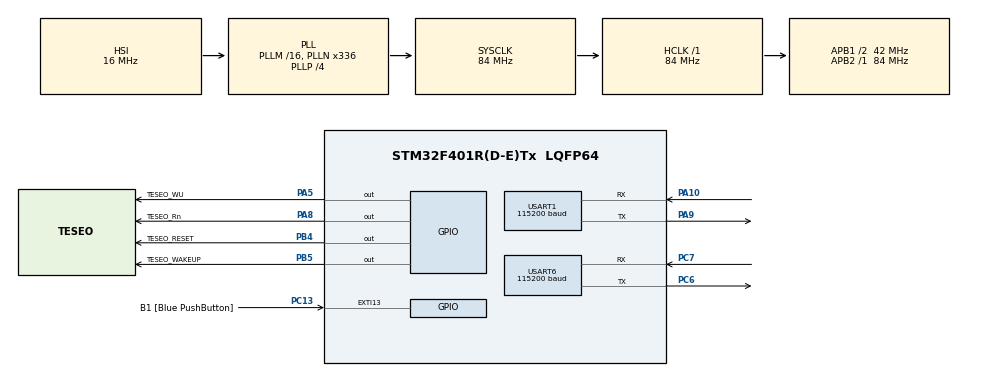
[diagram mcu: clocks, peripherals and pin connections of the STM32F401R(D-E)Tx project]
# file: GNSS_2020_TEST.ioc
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Dma.Request0=USART1_RX
Dma.USART1_RX.0.Direction=DMA_PERIPH_TO_MEMORY
Dma.USART1_RX.0.FIFOMode=DMA_FIFOMODE_DISABLE
Dma.USART1_RX.0.Instance=DMA2_Stream2
Dma.USART1_RX.0.MemDataAlignment=DMA_MDATAALIGN_BYTE
Dma.USART1_RX.0.MemInc=DMA_MINC_ENABLE
Dma.USART1_RX.0.Mode=DMA_CIRCULAR
Dma.USART1_RX.0.PeriphDataAlignment=DMA_PDATAALIGN_BYTE
Dma.USART1_RX.0.PeriphInc=DMA_PINC_DISABLE
Dma.USART1_RX.0.Priority=DMA_PRIORITY_LOW
Mcu.Family=STM32F4
Mcu.Name=STM32F401R(D-E)Tx
Mcu.Package=LQFP64
NVIC.DMA2_Stream2_IRQn=true\:0\:0\:false\:false\:true\:false\:true\:true
NVIC.PriorityGroup=NVIC_PRIORITYGROUP_4
NVIC.TIM1_UP_TIM10_IRQn=true\:15\:0\:false\:false\:true\:false\:true\:true
NVIC.TIM2_IRQn=true\:0\:0\:false\:false\:true\:true\:true\:true
NVIC.TimeBase=TIM1_UP_TIM10_IRQn
NVIC.TimeBaseIP=TIM1
PA10.Mode=Asynchronous
PA10.Signal=USART1_RX
PA13.GPIO_Label=TMS
PA13.Signal=SYS_JTMS-SWDIO
PA14.GPIO_Label=TCK
PA14.Signal=SYS_JTCK-SWCLK
PA2.GPIO_Label=USART_TX
PA2.GPIO_Mode=GPIO_MODE_AF_PP
PA2.GPIO_PuPd=GPIO_NOPULL
PA2.GPIO_Speed=GPIO_SPEED_FREQ_LOW
PA2.Signal=USART2_TX
PA3.GPIO_Label=USART_RX
PA3.GPIO_Mode=GPIO_MODE_AF_PP
PA3.GPIO_PuPd=GPIO_NOPULL
PA3.GPIO_Speed=GPIO_SPEED_FREQ_LOW
PA3.Signal=USART2_RX
PA5.GPIO_Label=TESEO_WU
PA5.GPIO_Mode=GPIO_MODE_OUTPUT_PP
PA5.GPIO_PuPd=GPIO_NOPULL
PA5.GPIO_Speed=GPIO_SPEED_FREQ_LOW
PA5.PinState=GPIO_PIN_SET
PA5.Signal=GPIO_Output
PA8.GPIO_Label=TESEO_Rn
PA8.PinState=GPIO_PIN_SET
PA8.Signal=GPIO_Output
PA9.Mode=Asynchronous
PA9.Signal=USART1_TX
PB3.GPIO_Label=SWO
PB3.Signal=SYS_JTDO-SWO
PB4.GPIO_Label=TESEO_RESET
PB4.PinState=GPIO_PIN_SET
PB4.Signal=GPIO_Output
PB5.GPIO_Label=TESEO_WAKEUP
PB5.PinState=GPIO_PIN_SET
PB5.Signal=GPIO_Output
PC13-ANTI_TAMP.GPIO_Label=B1 [Blue PushButton]
PC13-ANTI_TAMP.GPIO_ModeDefaultEXTI=GPIO_MODE_IT_FALLING
PC13-ANTI_TAMP.GPIO_PuPd=GPIO_NOPULL
PC13-ANTI_TAMP.Signal=GPXTI13
PC14-OSC32_IN.Signal=RCC_OSC32_IN
PC15-OSC32_OUT.Signal=RCC_OSC32_OUT
PC6.Mode=Asynchronous
PC6.Signal=USART6_TX
PC7.Mode=Asynchronous
PC7.Signal=USART6_RX
PH0\ -\ OSC_IN.Signal=RCC_OSC_IN
PH1\ -\ OSC_OUT.Signal=RCC_OSC_OUT
ProjectManager.HeapSize=0x200
ProjectManager.StackSize=0x400
ProjectManager.TargetToolchain=STM32CubeIDE
RCC.AHBFreq_Value=84000000
RCC.APB1CLKDivider=RCC_HCLK_DIV2
RCC.APB1Freq_Value=42000000
RCC.APB1TimFreq_Value=84000000
RCC.APB2Freq_Value=84000000
RCC.APB2TimFreq_Value=84000000
RCC.CortexFreq_Value=84000000
RCC.HCLKFreq_Value=84000000
RCC.HSE_VALUE=8000000
RCC.HSI_VALUE=16000000
RCC.LSE_VALUE=32768
RCC.PLLN=336
RCC.PLLP=RCC_PLLP_DIV4
RCC.PLLQ=7
RCC.SYSCLKFreq_VALUE=84000000
RCC.SYSCLKSource=RCC_SYSCLKSOURCE_PLLCLK
RCC.VCOOutputFreq_Value=336000000
TIM2.Period=1999
TIM2.Prescaler=8399
USART1.BaudRate=115200
USART1.Mode=MODE_TX_RX
USART1.VirtualMode=VM_ASYNC
USART6.BaudRate=115200
USART6.VirtualMode=VM_ASYNC
VP_SYS_VS_tim1.Mode=TIM1
VP_TIM2_VS_ClockSourceINT.Mode=Internal
board=NUCLEO-F401RE

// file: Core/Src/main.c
/* USER CODE BEGIN Header */
/**
 ******************************************************************************
 * @file           : main.c
 * @brief          : Main program body
 ******************************************************************************
 * @attention
 *
 * Copyright (c) 2025 STMicroelectronics.
 * All rights reserved.
 *
 * This software is licensed under terms that can be found in the LICENSE file
 * in the root directory of this software component.
 * If no LICENSE file comes with this software, it is provided AS-IS.
 *
 ******************************************************************************
 */
/* USER CODE END Header */
#include "main.h"

/* USER CODE BEGIN Includes */
#include "../inc/GNSSDriver.h"
#include "../inc/state_machine.h"

/* USER CODE END Includes */

/* USER CODE BEGIN PD */
#define MAX_NMEA_LEN 512
#define TX_TIMEOUT 500

/* USER CODE END PD */

TIM_HandleTypeDef htim2;

UART_HandleTypeDef huart1;
UART_HandleTypeDef huart6;
DMA_HandleTypeDef hdma_usart1_rx;

void SystemClock_Config(void);
static void MX_GPIO_Init(void);
static void MX_DMA_Init(void);
static void MX_USART1_UART_Init(void);
static void MX_USART6_UART_Init(void);
static void MX_TIM2_Init(void);

/* USER CODE BEGIN 0 */
uint8_t rx_buff[MAX_NMEA_LEN];

// inicializa a estrutura que salva os dados do gnss
gnss_data_t gnss_data;

// inicializa maquina de estados
system_state_t system_state = STATE_IDLE;

/* USER CODE END 0 */

int main(void)
{

  /* MCU Configuration--------------------------------------------------------*/

  /* Reset of all peripherals, Initializes the Flash interface and the Systick. */
  HAL_Init();

  /* Configure the system clock */
  SystemClock_Config();

  /* Initialize all configured peripherals */
  MX_GPIO_Init();
  MX_DMA_Init();
  MX_USART1_UART_Init();
  MX_USART6_UART_Init();
  MX_TIM2_Init();
  /* USER CODE BEGIN 2 */
	init(&gnss_data);

//	HAL_UART_Receive_DMA(&huart1, rx_buff, MAX_NMEA_LEN);
	HAL_UARTEx_ReceiveToIdle_DMA(&huart1, rx_buff, MAX_NMEA_LEN);
	HAL_TIM_Base_Start_IT(&htim2);

//	char test_rx_buffer[] =
//	    ",V,0000.00000,N,00000.00000,E,0.0,0.0,190925,,,N*74\n "
//	    "$GPGGA,123105.000,0000.00000,N,00000.00000,E,0,02,99.0,100.00,M,0.0,M,,*"
//	    "6A\n$GPVTG,0.0,T,,M,0.0,";

  /* USER CODE END 2 */

  /* Infinite loop */
  /* USER CODE BEGIN WHILE */
//	uint8_t change_baud[MAX_NMEA_LEN] = "$PSTMSETPAR,3102,0xA*12\r\n";
//	uint8_t change_sample_rate[MAX_NMEA_LEN] = "$PSTMSETPAR,1303,0.2*36\r\n";
//
//	uint8_t save_par[MAX_NMEA_LEN] = "$PSTMSAVEPAR*58\r\n";
//	uint8_t reset[MAX_NMEA_LEN] = "$PSTMSRR*49\r\n";
//
//	HAL_UART_Transmit(&huart1, change_sample_rate, MAX_NMEA_LEN, 1000);
//	HAL_UART_Transmit(&huart1, save_par, MAX_NMEA_LEN, 1000);
//	HAL_UART_Transmit(&huart1, reset, MAX_NMEA_LEN, 1000);
//
//	while (1) {
//
//	}

	while (1) {
    /* USER CODE END WHILE */

    /* USER CODE BEGIN 3 */
		switch (system_state) {

		case STATE_RECEIVE_UART: {
			// novos dados chegaram no DMA
			// primeira coisa é filtrar onde começa e onde termina a mensagem
			const char *start = (char*) rx_buff;
			const char *begin, *end;

			while ((begin = strchr(start, '$')) != NULL) {
				end = strchr(begin, '\n');
				if (!end)
					break;  // no newline after '$' → stop

				// index de inicio e fim determinados. salva no nmea_sentence
				uint8_t sentence_size = end - begin + 1; // includes \n
				char *nmea_sentence = (char*) malloc(
						sentence_size * sizeof(char));
				memcpy(nmea_sentence, begin, sentence_size);

				// nmea_sentence agora contem uma sentença nmea. joga para os parsers
				NMEA_Type nmea_type = NMEA_UNKNOWN;

				if (classify_nmea(&nmea_type, nmea_sentence) != NO_ERROR) {
					continue; // falha na classificacao
				}

				switch (nmea_type) {
				case NMEA_GPGGA: {
					if (parse_gpgga(&gnss_data, nmea_sentence) != NO_ERROR) {
						continue; // falha no parse
					}
					break;
				}

				case NMEA_GPRMC: {
					if (parse_gprmc(&gnss_data, nmea_sentence) != NO_ERROR) {
						continue; // falha no parse
					}
					break;
				}
				case NMEA_UNKNOWN:
					break;
				}

				free(nmea_sentence);
				nmea_sentence = NULL;

				start = end + 1; // move forward after the newline
			}

			change_state(&system_state, STATE_IDLE);
			break;
		}

		case STATE_SEND_UART: {
			// timer disparou: faz o envio
//			HAL_GPIO_TogglePin(LD2_GPIO_Port, LD2_Pin);

			char uart_output_message[MAX_NMEA_LEN] = { '\0' };
			if (save_to_message(&gnss_data, uart_output_message, MAX_NMEA_LEN)
					!= NO_ERROR) {
				continue; // messaging failed
			}

			HAL_UART_Transmit(&huart6, (uint8_t*) uart_output_message,
			MAX_NMEA_LEN,
			TX_TIMEOUT);

			change_state(&system_state, STATE_IDLE);
			break;
		}
		case STATE_IDLE:
		default: {
			break;
		}
		}

	}
  /* USER CODE END 3 */
}

void SystemClock_Config(void)
{
  RCC_OscInitTypeDef RCC_OscInitStruct = {0};
  RCC_ClkInitTypeDef RCC_ClkInitStruct = {0};

  /** Configure the main internal regulator output voltage
  */
  __HAL_RCC_PWR_CLK_ENABLE();
  __HAL_PWR_VOLTAGESCALING_CONFIG(PWR_REGULATOR_VOLTAGE_SCALE2);

  /** Initializes the RCC Oscillators according to the specified parameters
  * in the RCC_OscInitTypeDef structure.
  */
  RCC_OscInitStruct.OscillatorType = RCC_OSCILLATORTYPE_HSI;
  RCC_OscInitStruct.HSIState = RCC_HSI_ON;
  RCC_OscInitStruct.HSICalibrationValue = RCC_HSICALIBRATION_DEFAULT;
  RCC_OscInitStruct.PLL.PLLState = RCC_PLL_ON;
  RCC_OscInitStruct.PLL.PLLSource = RCC_PLLSOURCE_HSI;
  RCC_OscInitStruct.PLL.PLLM = 16;
  RCC_OscInitStruct.PLL.PLLN = 336;
  RCC_OscInitStruct.PLL.PLLP = RCC_PLLP_DIV4;
  RCC_OscInitStruct.PLL.PLLQ = 7;
  if (HAL_RCC_OscConfig(&RCC_OscInitStruct) != HAL_OK)
  {
    Error_Handler();
  }

  /** Initializes the CPU, AHB and APB buses clocks
  */
  RCC_ClkInitStruct.ClockType = RCC_CLOCKTYPE_HCLK|RCC_CLOCKTYPE_SYSCLK
                              |RCC_CLOCKTYPE_PCLK1|RCC_CLOCKTYPE_PCLK2;
  RCC_ClkInitStruct.SYSCLKSource = RCC_SYSCLKSOURCE_PLLCLK;
  RCC_ClkInitStruct.AHBCLKDivider = RCC_SYSCLK_DIV1;
  RCC_ClkInitStruct.APB1CLKDivider = RCC_HCLK_DIV2;
  RCC_ClkInitStruct.APB2CLKDivider = RCC_HCLK_DIV1;

  if (HAL_RCC_ClockConfig(&RCC_ClkInitStruct, FLASH_LATENCY_2) != HAL_OK)
  {
    Error_Handler();
  }
}

static void MX_TIM2_Init(void)
{

  TIM_ClockConfigTypeDef sClockSourceConfig = {0};
  TIM_MasterConfigTypeDef sMasterConfig = {0};

  /* USER CODE BEGIN TIM2_Init 1 */
	// (Period + 1) * (Prescaler + 1) = Timer_Clock / Frequency
	// Timer_Clock = APB1 (84 Mhz)
	// Frequency = o que queremos (coloquei 1 Hz por enquanto)
	// Prescaler = 8399 timer counts at 84 MHz / (8399 + 1) = 10 kHz
	// Period = 9999: interrupt every 10000 / 10000 Hz = 1 s
  /* USER CODE END TIM2_Init 1 */
  htim2.Instance = TIM2;
  htim2.Init.Prescaler = 8399;
  htim2.Init.CounterMode = TIM_COUNTERMODE_UP;
  htim2.Init.Period = 1999;
  htim2.Init.ClockDivision = TIM_CLOCKDIVISION_DIV1;
  htim2.Init.AutoReloadPreload = TIM_AUTORELOAD_PRELOAD_DISABLE;
  if (HAL_TIM_Base_Init(&htim2) != HAL_OK)
  {
    Error_Handler();
  }
  sClockSourceConfig.ClockSource = TIM_CLOCKSOURCE_INTERNAL;
  if (HAL_TIM_ConfigClockSource(&htim2, &sClockSourceConfig) != HAL_OK)
  {
    Error_Handler();
  }
  sMasterConfig.MasterOutputTrigger = TIM_TRGO_RESET;
  sMasterConfig.MasterSlaveMode = TIM_MASTERSLAVEMODE_DISABLE;
  if (HAL_TIMEx_MasterConfigSynchronization(&htim2, &sMasterConfig) != HAL_OK)
  {
    Error_Handler();
  }
  /* USER CODE BEGIN TIM2_Init 2 */
	// Enable interrupt
	HAL_NVIC_SetPriority(TIM2_IRQn, 0, 0);
	HAL_NVIC_EnableIRQ(TIM2_IRQn);

  /* USER CODE END TIM2_Init 2 */

}

static void MX_USART1_UART_Init(void)
{

  huart1.Instance = USART1;
  huart1.Init.BaudRate = 115200;
  huart1.Init.WordLength = UART_WORDLENGTH_8B;
  huart1.Init.StopBits = UART_STOPBITS_1;
  huart1.Init.Parity = UART_PARITY_NONE;
  huart1.Init.Mode = UART_MODE_TX_RX;
  huart1.Init.HwFlowCtl = UART_HWCONTROL_NONE;
  huart1.Init.OverSampling = UART_OVERSAMPLING_16;
  if (HAL_UART_Init(&huart1) != HAL_OK)
  {
    Error_Handler();
  }

}

static void MX_USART6_UART_Init(void)
{

  huart6.Instance = USART6;
  huart6.Init.BaudRate = 115200;
  huart6.Init.WordLength = UART_WORDLENGTH_8B;
  huart6.Init.StopBits = UART_STOPBITS_1;
  huart6.Init.Parity = UART_PARITY_NONE;
  huart6.Init.Mode = UART_MODE_TX_RX;
  huart6.Init.HwFlowCtl = UART_HWCONTROL_NONE;
  huart6.Init.OverSampling = UART_OVERSAMPLING_16;
  if (HAL_UART_Init(&huart6) != HAL_OK)
  {
    Error_Handler();
  }

}

static void MX_DMA_Init(void)
{

  /* DMA controller clock enable */
  __HAL_RCC_DMA2_CLK_ENABLE();

  /* DMA interrupt init */
  /* DMA2_Stream2_IRQn interrupt configuration */
  HAL_NVIC_SetPriority(DMA2_Stream2_IRQn, 0, 0);
  HAL_NVIC_EnableIRQ(DMA2_Stream2_IRQn);

}

static void MX_GPIO_Init(void)
{
  GPIO_InitTypeDef GPIO_InitStruct = {0};

  /* GPIO Ports Clock Enable */
  __HAL_RCC_GPIOC_CLK_ENABLE();
  __HAL_RCC_GPIOH_CLK_ENABLE();
  __HAL_RCC_GPIOA_CLK_ENABLE();
  __HAL_RCC_GPIOB_CLK_ENABLE();

  /*Configure GPIO pin Output Level */
  HAL_GPIO_WritePin(GPIOA, TESEO_WU_Pin|TESEO_Rn_Pin, GPIO_PIN_SET);

  /*Configure GPIO pin Output Level */
  HAL_GPIO_WritePin(GPIOB, TESEO_RESET_Pin|TESEO_WAKEUP_Pin, GPIO_PIN_SET);

  /*Configure GPIO pin : B1_Pin */
  GPIO_InitStruct.Pin = B1_Pin;
  GPIO_InitStruct.Mode = GPIO_MODE_IT_FALLING;
  GPIO_InitStruct.Pull = GPIO_NOPULL;
  HAL_GPIO_Init(B1_GPIO_Port, &GPIO_InitStruct);

  /*Configure GPIO pins : USART_TX_Pin USART_RX_Pin */
  GPIO_InitStruct.Pin = USART_TX_Pin|USART_RX_Pin;
  GPIO_InitStruct.Mode = GPIO_MODE_AF_PP;
  GPIO_InitStruct.Pull = GPIO_NOPULL;
  GPIO_InitStruct.Speed = GPIO_SPEED_FREQ_LOW;
  GPIO_InitStruct.Alternate = GPIO_AF7_USART2;
  HAL_GPIO_Init(GPIOA, &GPIO_InitStruct);

  /*Configure GPIO pins : TESEO_WU_Pin TESEO_Rn_Pin */
  GPIO_InitStruct.Pin = TESEO_WU_Pin|TESEO_Rn_Pin;
  GPIO_InitStruct.Mode = GPIO_MODE_OUTPUT_PP;
  GPIO_InitStruct.Pull = GPIO_NOPULL;
  GPIO_InitStruct.Speed = GPIO_SPEED_FREQ_LOW;
  HAL_GPIO_Init(GPIOA, &GPIO_InitStruct);

  /*Configure GPIO pins : TESEO_RESET_Pin TESEO_WAKEUP_Pin */
  GPIO_InitStruct.Pin = TESEO_RESET_Pin|TESEO_WAKEUP_Pin;
  GPIO_InitStruct.Mode = GPIO_MODE_OUTPUT_PP;
  GPIO_InitStruct.Pull = GPIO_NOPULL;
  GPIO_InitStruct.Speed = GPIO_SPEED_FREQ_LOW;
  HAL_GPIO_Init(GPIOB, &GPIO_InitStruct);

}

/* USER CODE BEGIN 4 */
//void HAL_UART_RxCpltCallback(UART_HandleTypeDef *huart) {
//	HAL_UART_Receive_DMA(&huart1, rx_buff, MAX_NMEA_LEN);
//	change_state(&system_state, STATE_RECEIVE_UART);
//}
//
//// Restarts the DMA reception on UART1 whenever a framing error occurs
//void HAL_UART_ErrorCallback(UART_HandleTypeDef *huart)
//{
//	if(huart->Instance == USART1)
//	{
//		HAL_UART_Receive_DMA(&huart1, rx_buff, MAX_NMEA_LEN);
//	}
//}

void HAL_UARTEx_RxEventCallback(UART_HandleTypeDef *huart, uint16_t Size)
{
	change_state(&system_state, STATE_RECEIVE_UART);
}
/* USER CODE END 4 */

void HAL_TIM_PeriodElapsedCallback(TIM_HandleTypeDef *htim)
{
  if (htim->Instance == TIM1) {
    HAL_IncTick();
  }
  /* USER CODE BEGIN Callback 1 */
	if (htim->Instance == TIM2) {
		change_state(&system_state, STATE_SEND_UART);
	}

  /* USER CODE END Callback 1 */
}

void Error_Handler(void)
{
	__disable_irq();
	while (1) {
	}
}
